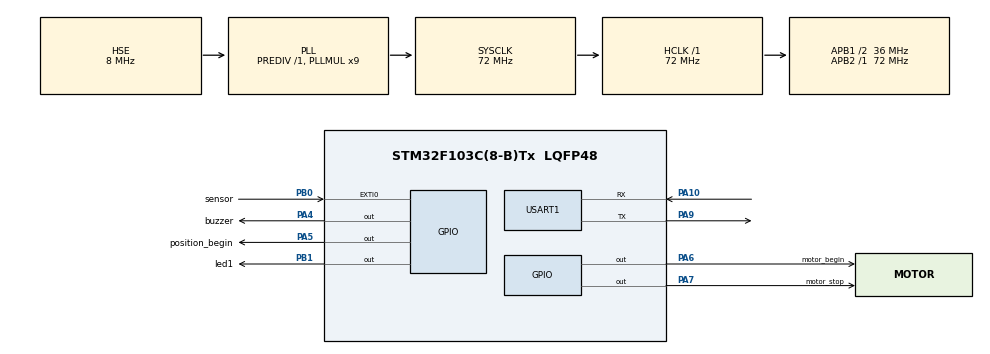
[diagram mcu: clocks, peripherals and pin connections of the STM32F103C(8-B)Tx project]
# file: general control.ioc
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Dma.Request0=USART1_RX
Dma.Request1=USART1_TX
Dma.USART1_RX.0.Direction=DMA_PERIPH_TO_MEMORY
Dma.USART1_RX.0.Instance=DMA1_Channel5
Dma.USART1_RX.0.MemDataAlignment=DMA_MDATAALIGN_BYTE
Dma.USART1_RX.0.MemInc=DMA_MINC_ENABLE
Dma.USART1_RX.0.Mode=DMA_NORMAL
Dma.USART1_RX.0.PeriphDataAlignment=DMA_PDATAALIGN_BYTE
Dma.USART1_RX.0.PeriphInc=DMA_PINC_DISABLE
Dma.USART1_RX.0.Priority=DMA_PRIORITY_LOW
Dma.USART1_TX.1.Direction=DMA_MEMORY_TO_PERIPH
Dma.USART1_TX.1.Instance=DMA1_Channel4
Dma.USART1_TX.1.MemDataAlignment=DMA_MDATAALIGN_BYTE
Dma.USART1_TX.1.MemInc=DMA_MINC_ENABLE
Dma.USART1_TX.1.Mode=DMA_NORMAL
Dma.USART1_TX.1.PeriphDataAlignment=DMA_PDATAALIGN_BYTE
Dma.USART1_TX.1.PeriphInc=DMA_PINC_DISABLE
Dma.USART1_TX.1.Priority=DMA_PRIORITY_LOW
Mcu.Family=STM32F1
Mcu.Name=STM32F103C(8-B)Tx
Mcu.Package=LQFP48
NVIC.DMA1_Channel4_IRQn=true\:0\:0\:false\:false\:true\:false\:true\:true
NVIC.DMA1_Channel5_IRQn=true\:0\:0\:false\:false\:true\:false\:true\:true
NVIC.EXTI0_IRQn=true\:0\:0\:false\:false\:true\:true\:true\:true
NVIC.PriorityGroup=NVIC_PRIORITYGROUP_4
NVIC.USART1_IRQn=true\:0\:0\:false\:false\:true\:true\:true\:true
PA10.Mode=Asynchronous
PA10.Signal=USART1_RX
PA13.Mode=Serial_Wire
PA13.Signal=SYS_JTMS-SWDIO
PA14.Mode=Serial_Wire
PA14.Signal=SYS_JTCK-SWCLK
PA4.GPIO_Label=buzzer
PA4.PinState=GPIO_PIN_SET
PA4.Signal=GPIO_Output
PA5.GPIO_Label=position_begin
PA5.Signal=GPIO_Output
PA6.GPIO_Label=motor_begin
PA6.Signal=GPIO_Output
PA7.GPIO_Label=motor_stop
PA7.Signal=GPIO_Output
PA9.Mode=Asynchronous
PA9.Signal=USART1_TX
PB0.GPIO_Label=sensor
PB0.GPIO_PuPd=GPIO_PULLUP
PB0.Signal=GPXTI0
PB1.GPIO_Label=led1
PB1.Signal=GPIO_Output
PD0-OSC_IN.Mode=HSE-External-Oscillator
PD0-OSC_IN.Signal=RCC_OSC_IN
PD1-OSC_OUT.Mode=HSE-External-Oscillator
PD1-OSC_OUT.Signal=RCC_OSC_OUT
ProjectManager.HeapSize=0x200
ProjectManager.StackSize=0x400
ProjectManager.TargetToolchain=STM32CubeIDE
RCC.AHBFreq_Value=72000000
RCC.APB1CLKDivider=RCC_HCLK_DIV2
RCC.APB1Freq_Value=36000000
RCC.APB1TimFreq_Value=72000000
RCC.APB2Freq_Value=72000000
RCC.APB2TimFreq_Value=72000000
RCC.HCLKFreq_Value=72000000
RCC.PLLMUL=RCC_PLL_MUL9
RCC.PLLSourceVirtual=RCC_PLLSOURCE_HSE
RCC.SYSCLKFreq_VALUE=72000000
RCC.SYSCLKSource=RCC_SYSCLKSOURCE_PLLCLK
RCC.USBFreq_Value=72000000
USART1.VirtualMode=VM_ASYNC
board=custom

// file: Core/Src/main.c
/* USER CODE BEGIN Header */
/**
  ******************************************************************************
  * @file           : main.c
  * @brief          : Main program body
  ******************************************************************************
  * @attention
  *
  * Copyright (c) 2025 STMicroelectronics.
  * All rights reserved.
  *
  * This software is licensed under terms that can be found in the LICENSE file
  * in the root directory of this software component.
  * If no LICENSE file comes with this software, it is provided AS-IS.
  *
  ******************************************************************************
  */
/* USER CODE END Header */
#include "main.h"

UART_HandleTypeDef huart1;
DMA_HandleTypeDef hdma_usart1_rx;
DMA_HandleTypeDef hdma_usart1_tx;

void SystemClock_Config(void);
static void MX_GPIO_Init(void);
static void MX_DMA_Init(void);
static void MX_USART1_UART_Init(void);
/* USER CODE BEGIN PFP */
extern DMA_HandleTypeDef hdma_usart1_rx;
char data[4];
uint8_t not_get_flag=1;
uint8_t get_flag=0;
/* USER CODE END PFP */

/* USER CODE BEGIN 0 */

void HAL_UARTEx_RxEventCallback(UART_HandleTypeDef *huart, uint16_t Size){

	if(huart==&huart1)
	{   if(data[0]=='C'&&data[1]=='C'){
		HAL_GPIO_WritePin(position_begin_GPIO_Port, position_begin_Pin,GPIO_PIN_SET);
		HAL_GPIO_WritePin(motor_begin_GPIO_Port,motor_begin_Pin,GPIO_PIN_SET);
		//HAL_GPIO_WritePin(buzzer_GPIO_Port, buzzer_Pin, GPIO_PIN_RESET);
	}
	else if(data[0]=='D'&&data[1]=='D'){
		HAL_GPIO_WritePin(motor_stop_GPIO_Port,motor_stop_Pin,GPIO_PIN_SET);
		HAL_GPIO_WritePin(position_begin_GPIO_Port, position_begin_Pin,GPIO_PIN_RESET);
			HAL_GPIO_WritePin(motor_begin_GPIO_Port,motor_begin_Pin,GPIO_PIN_RESET);
			HAL_GPIO_WritePin(led1_GPIO_Port,led1_Pin,GPIO_PIN_SET);
			HAL_GPIO_WritePin(buzzer_GPIO_Port, buzzer_Pin, GPIO_PIN_RESET);

	}
	else if(data[0]=='O'&&data[1]=='K'){
		not_get_flag=1;
		get_flag=1;
	}
	  HAL_UARTEx_ReceiveToIdle_DMA(&huart1, data, sizeof(data));
		__HAL_DMA_DISABLE_IT(&hdma_usart1_rx,DMA_IT_HT);
	}

}

/* USER CODE END 0 */

int main(void)
{

  /* MCU Configuration--------------------------------------------------------*/

  /* Reset of all peripherals, Initializes the Flash interface and the Systick. */
  HAL_Init();

  /* Configure the system clock */
  SystemClock_Config();

  /* Initialize all configured peripherals */
  MX_GPIO_Init();
  MX_DMA_Init();
  MX_USART1_UART_Init();
  /* USER CODE BEGIN 2 */
  HAL_UARTEx_ReceiveToIdle_DMA(&huart1, data, sizeof(data));
	__HAL_DMA_DISABLE_IT(&hdma_usart1_rx,DMA_IT_HT);
  /* USER CODE END 2 */

  /* Infinite loop */
  /* USER CODE BEGIN WHILE */
  while (1)
  {
//	  if(not_get_flag==0){
//		  HAL_UART_Transmit(&huart1, "BB\n", sizeof("BB\n"), 10);
//HAL_Delay(20);
//	  }
    /* USER CODE END WHILE */

  }
}

void SystemClock_Config(void)
{
  RCC_OscInitTypeDef RCC_OscInitStruct = {0};
  RCC_ClkInitTypeDef RCC_ClkInitStruct = {0};

  /** Initializes the RCC Oscillators according to the specified parameters
  * in the RCC_OscInitTypeDef structure.
  */
  RCC_OscInitStruct.OscillatorType = RCC_OSCILLATORTYPE_HSE;
  RCC_OscInitStruct.HSEState = RCC_HSE_ON;
  RCC_OscInitStruct.HSEPredivValue = RCC_HSE_PREDIV_DIV1;
  RCC_OscInitStruct.HSIState = RCC_HSI_ON;
  RCC_OscInitStruct.PLL.PLLState = RCC_PLL_ON;
  RCC_OscInitStruct.PLL.PLLSource = RCC_PLLSOURCE_HSE;
  RCC_OscInitStruct.PLL.PLLMUL = RCC_PLL_MUL9;
  if (HAL_RCC_OscConfig(&RCC_OscInitStruct) != HAL_OK)
  {
    Error_Handler();
  }

  /** Initializes the CPU, AHB and APB buses clocks
  */
  RCC_ClkInitStruct.ClockType = RCC_CLOCKTYPE_HCLK|RCC_CLOCKTYPE_SYSCLK
                              |RCC_CLOCKTYPE_PCLK1|RCC_CLOCKTYPE_PCLK2;
  RCC_ClkInitStruct.SYSCLKSource = RCC_SYSCLKSOURCE_PLLCLK;
  RCC_ClkInitStruct.AHBCLKDivider = RCC_SYSCLK_DIV1;
  RCC_ClkInitStruct.APB1CLKDivider = RCC_HCLK_DIV2;
  RCC_ClkInitStruct.APB2CLKDivider = RCC_HCLK_DIV1;

  if (HAL_RCC_ClockConfig(&RCC_ClkInitStruct, FLASH_LATENCY_2) != HAL_OK)
  {
    Error_Handler();
  }
}

static void MX_USART1_UART_Init(void)
{

  huart1.Instance = USART1;
  huart1.Init.BaudRate = 115200;
  huart1.Init.WordLength = UART_WORDLENGTH_8B;
  huart1.Init.StopBits = UART_STOPBITS_1;
  huart1.Init.Parity = UART_PARITY_NONE;
  huart1.Init.Mode = UART_MODE_TX_RX;
  huart1.Init.HwFlowCtl = UART_HWCONTROL_NONE;
  huart1.Init.OverSampling = UART_OVERSAMPLING_16;
  if (HAL_UART_Init(&huart1) != HAL_OK)
  {
    Error_Handler();
  }

}

static void MX_DMA_Init(void)
{

  /* DMA controller clock enable */
  __HAL_RCC_DMA1_CLK_ENABLE();

  /* DMA interrupt init */
  /* DMA1_Channel4_IRQn interrupt configuration */
  HAL_NVIC_SetPriority(DMA1_Channel4_IRQn, 0, 0);
  HAL_NVIC_EnableIRQ(DMA1_Channel4_IRQn);
  /* DMA1_Channel5_IRQn interrupt configuration */
  HAL_NVIC_SetPriority(DMA1_Channel5_IRQn, 0, 0);
  HAL_NVIC_EnableIRQ(DMA1_Channel5_IRQn);

}

static void MX_GPIO_Init(void)
{
  GPIO_InitTypeDef GPIO_InitStruct = {0};

  /* GPIO Ports Clock Enable */
  __HAL_RCC_GPIOD_CLK_ENABLE();
  __HAL_RCC_GPIOA_CLK_ENABLE();
  __HAL_RCC_GPIOB_CLK_ENABLE();

  /*Configure GPIO pin Output Level */
  HAL_GPIO_WritePin(buzzer_GPIO_Port, buzzer_Pin, GPIO_PIN_SET);

  /*Configure GPIO pin Output Level */
  HAL_GPIO_WritePin(GPIOA, position_begin_Pin|motor_begin_Pin|motor_stop_Pin, GPIO_PIN_RESET);

  /*Configure GPIO pin Output Level */
  HAL_GPIO_WritePin(led1_GPIO_Port, led1_Pin, GPIO_PIN_RESET);

  /*Configure GPIO pins : buzzer_Pin position_begin_Pin motor_begin_Pin motor_stop_Pin */
  GPIO_InitStruct.Pin = buzzer_Pin|position_begin_Pin|motor_begin_Pin|motor_stop_Pin;
  GPIO_InitStruct.Mode = GPIO_MODE_OUTPUT_PP;
  GPIO_InitStruct.Pull = GPIO_NOPULL;
  GPIO_InitStruct.Speed = GPIO_SPEED_FREQ_LOW;
  HAL_GPIO_Init(GPIOA, &GPIO_InitStruct);

  /*Configure GPIO pin : sensor_Pin */
  GPIO_InitStruct.Pin = sensor_Pin;
  GPIO_InitStruct.Mode = GPIO_MODE_IT_RISING;
  GPIO_InitStruct.Pull = GPIO_PULLUP;
  HAL_GPIO_Init(sensor_GPIO_Port, &GPIO_InitStruct);

  /*Configure GPIO pin : led1_Pin */
  GPIO_InitStruct.Pin = led1_Pin;
  GPIO_InitStruct.Mode = GPIO_MODE_OUTPUT_PP;
  GPIO_InitStruct.Pull = GPIO_NOPULL;
  GPIO_InitStruct.Speed = GPIO_SPEED_FREQ_LOW;
  HAL_GPIO_Init(led1_GPIO_Port, &GPIO_InitStruct);

  /* EXTI interrupt init*/
  HAL_NVIC_SetPriority(EXTI0_IRQn, 0, 0);
  HAL_NVIC_EnableIRQ(EXTI0_IRQn);

}

void Error_Handler(void)
{
  __disable_irq();
  while (1)
  {
  }
}
